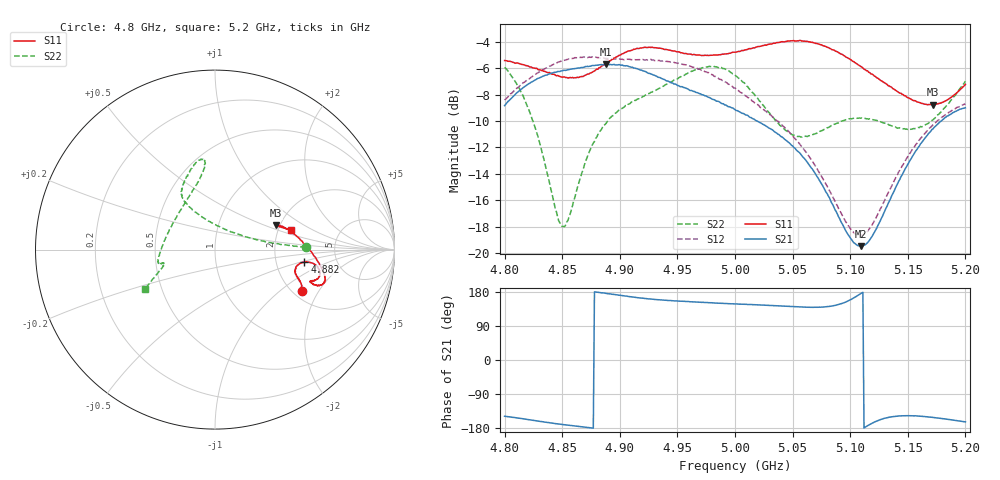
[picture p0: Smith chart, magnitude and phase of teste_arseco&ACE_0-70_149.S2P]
! Network Analyzer HP8722D
! Hewlett-Packard
! Data name: Linha & Wilkinson
! Saver's name: Rodrigo Anjos
! Comments: Teste da utilização de aquisição
! continua pelo VNA HP8722D
! Time and date: 8/5/2025 14:00
!  Frequency  S11  S21  S12  S22
# HZ  S  MA R 50
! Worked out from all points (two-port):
!   401 points, 4.8 GHz to 5.2 GHz, reference 50 ohm
!   highest |S21| = -5.70 dB at 4.888 GHz (marker M1); lowest = -19.5 dB at 5.109 GHz (marker M2)
!   |S21| within 3 dB of the highest: 4.801 GHz to 4.99 GHz (188.7 MHz wide, 3.85 % of centre)
!   lowest |S11| = -8.8 dB at 5.172 GHz (marker M3), VSWR 2.15, Z = 94.9 + j29.8 ohm
!   |S11| at or under -10 dB: nowhere
!   |S22| runs from -18.0 to -5.9 dB; largest |S21 - S12| = 1.1
!   S11 on the Smith chart (normalised r, x): 4.8 GHz: 2.23, -1.44; 4.882 GHz: 2.91, -0.54; 5.2 GHz: 2.33, +0.64
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4.8e9  0.5359 -25.5  0.3617 -148.5  0.38 11.0  0.5046 1.5
4.812e9  0.523 -22.3  0.409 -153.4  0.4249 9.3  0.4258 2.7
4.823e9  0.5063 -20.6  0.4437 -158.4  0.4629 7.5  0.3307 6.1
4.849e9  0.4648 -16.2  0.4896 -169.8  0.5329 3.4  0.1274 57.5
4.855e9  0.4599 -14.5  0.4949 -172.1  0.5412 2.3  0.1331 84.4
4.867e9  0.4662 -11.2  0.504 -176.1  0.5503 0.8  0.201 112.8
4.882e9  0.5032 -7.9  0.5159 178.3  0.5496 -0.4  0.2843 121.0
4.888e9  0.5229 -7.8  0.5189 175.8  0.5453 -0.6  0.3095 122.2
4.913e9  0.5909 -11.0  0.5017 165.7  0.5399 -0.2  0.3784 119.3
4.934e9  0.5969 -15.5  0.4623 158.8  0.5367 -1.0  0.42 113.5
4.975e9  0.5599 -18.5  0.3931 151.7  0.4854 -4.8  0.507 99.7
5e9  0.5767 -19.3  0.3496 147.9  0.4222 -4.9  0.4716 97.1
5.018e9  0.6014 -19.3  0.3179 145.9  0.3677 -2.4  0.3921 103.4
5.045e9  0.6335 -17.3  0.2659 141.6  0.2932 3.4  0.2895 132.6
5.067e9  0.628 -13.2  0.2085 139.0  0.2235 9.6  0.2802 164.6
5.098e9  0.5481 -2.9  0.1178 155.8  0.1277 36.7  0.3215 -170.4
5.109e9  0.5095 2.2  0.1063 174.9  0.1168 58.1  0.3241 -167.1
5.118e9  0.4772 6.6  0.1141 -168.5  0.1258 75.8  0.3213 -165.9
5.134e9  0.4289 14.3  0.1574 -150.9  0.1727 94.8  0.3049 -165.6
5.154e9  0.3803 20.8  0.2324 -147.3  0.2473 101.9  0.295 -164.2
5.172e9  0.3644 21.9  0.2957 -151.5  0.3062 102.9  0.32 -160.0
5.2e9  0.4355 14.7  0.3548 -163.3  0.3676 103.3  0.4475 -150.6
